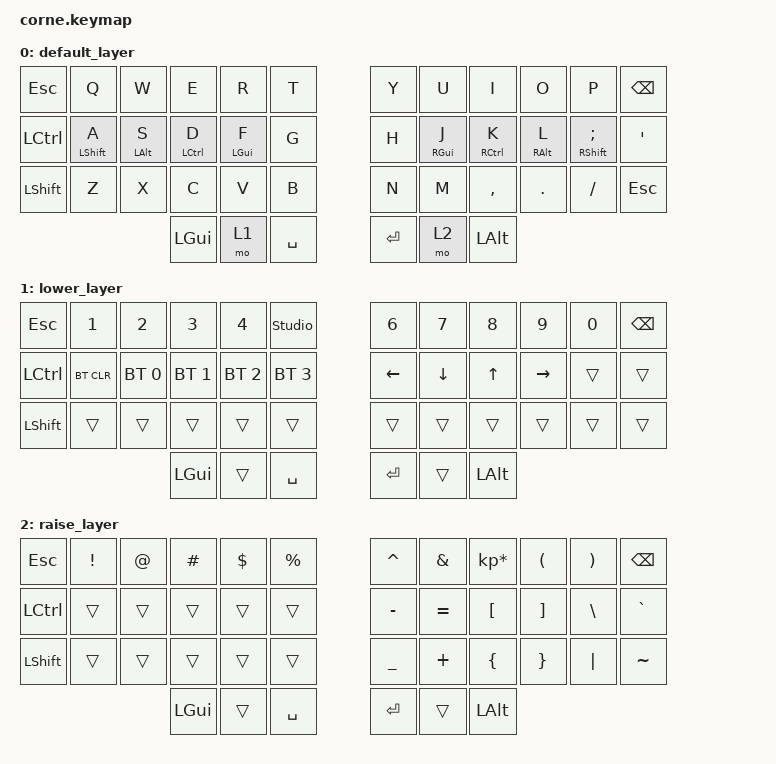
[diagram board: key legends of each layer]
#include <behaviors.dtsi>
#include <dt-bindings/zmk/keys.h>
#include <dt-bindings/zmk/bt.h>

// Penentuan Matriks Posisi Bilateral Corne 42-keys (Termasuk Kluster Jempol)
#define LEFT_HAND  0  1  2  3  4  5 12 13 14 15 16 17 24 25 26 27 28 29 36 37 38
#define RIGHT_HAND 6  7  8  9 10 11 18 19 20 21 22 23 30 31 32 33 34 35 39 40 41

/ {
    behaviors {
        hm_l: hrm_left_timeless {
            compatible = "zmk,behavior-hold-tap";
            label = "HRM_TIMELESS_LEFT";
            #binding-cells = <2>;
            
            // FILOSOFI TIMELESS: MEMBUNUH LAG VISUAL TOTAL
            flavor = "balanced";
            tapping-term-ms = <280>;             // Sengaja dibuat tinggi sebagai tameng typo
            quick-tap-ms = <175>;                // Mengunci TAP murni saat rolling teks berulang
            require-prior-idle-ms = <150>;       // Memberi jeda tenang pada sirkuit internal
            
            // LOGIKA STRUKTURAL PENGGANTI WAKTU
            hold-trigger-key-positions = <RIGHT_HAND>; // Tangan kiri tidak akan pernah memicu mod untuk tangan kiri
            hold-trigger-on-release;             // KUNCI: Mod aktif hanya berdasarkan pelepasan tombol tangan kanan
            
            bindings = <&kp>, <&kp>;
        };

        hm_r: hrm_right_timeless {
            compatible = "zmk,behavior-hold-tap";
            label = "HRM_TIMELESS_RIGHT";
            #binding-cells = <2>;
            
            flavor = "balanced";
            tapping-term-ms = <280>;
            quick-tap-ms = <175>;
            require-prior-idle-ms = <150>;
            
            hold-trigger-key-positions = <LEFT_HAND>;  // Tangan kanan tidak akan pernah memicu mod untuk tangan kanan
            hold-trigger-on-release;             // KUNCI: Mod aktif hanya berdasarkan pelepasan tombol tangan kiri
            
            bindings = <&kp>, <&kp>;
        };
    };

    keymap {
        compatible = "zmk,keymap";

        default_layer {
            bindings = <
&kp ESC   &kp Q          &kp W          &kp E          &kp R          &kp T       &kp Y &kp U          &kp I          &kp O          &kp P             &kp BSPC
&kp LCTRL &hm_l LSHIFT A &hm_l LALT S   &hm_l LCTRL D  &hm_l LGUI F   &kp G       &kp H &hm_r RGUI J   &hm_r RCTRL K  &hm_r RALT L   &hm_r RSHIFT SEMI &kp SQT
&kp LSHFT &kp Z          &kp X          &kp C          &kp V          &kp B       &kp N &kp M          &kp COMMA      &kp DOT        &kp FSLH          &kp ESC
                                        &kp LGUI       &mo 1          &kp SPACE   &kp RET &mo 2        &kp LALT
            >;
        };

        lower_layer {
            bindings = <
&kp ESC   &kp N1       &kp N2       &kp N3       &kp N4       &studio_unlock   &kp N6   &kp N7   &kp N8 &kp N9    &kp N0 &kp BSPC
&kp LCTRL &bt BT_CLR   &bt BT_SEL 0 &bt BT_SEL 1 &bt BT_SEL 2 &bt BT_SEL 3     &kp LEFT &kp DOWN &kp UP &kp RIGHT &trans &trans
&kp LSHFT &trans       &trans       &trans       &trans       &trans           &trans   &trans   &trans &trans    &trans &trans
                                    &kp LGUI     &trans       &kp SPACE        &kp RET  &trans   &kp LALT
            >;
        };

        raise_layer {
            bindings = <
&kp ESC   &kp EXCL     &kp AT       &kp HASH     &kp DLLR     &kp PRCNT   &kp CARET &kp AMPS  &kp KP_MULTIPLY &kp LPAR &kp RPAR &kp BSPC
&kp LCTRL &trans       &trans       &trans       &trans       &trans      &kp MINUS &kp EQUAL &kp LBKT        &kp RBKT &kp BSLH &kp GRAVE
&kp LSHFT &trans       &trans       &trans       &trans       &trans      &kp UNDER &kp PLUS  &kp LBRC        &kp RBRC &kp PIPE &kp TILDE
                                    &kp LGUI     &trans       &kp SPACE   &kp RET   &trans    &kp LALT
            >;
        };
    };
};
